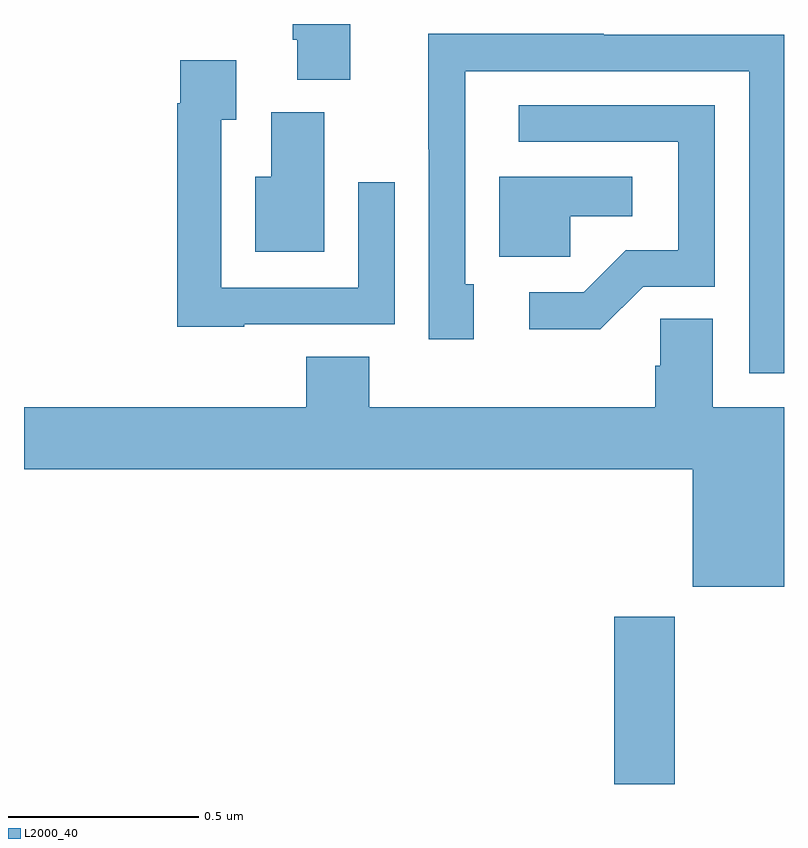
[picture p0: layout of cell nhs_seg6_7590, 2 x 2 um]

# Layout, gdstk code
import gdstk
lib = gdstk.Library(unit=1e-6, precision=1e-09)
def R(c, l, rs):  # rectangles x0, y0, x1, y1
    for r in rs: c.add(gdstk.rectangle(r[:2], r[2:], *l))
def P(c, l, *ps):  # polygons
    for p in ps: c.add(gdstk.Polygon(p, *l))
L2000_40 = (2000, 40)

nhs_seg6_7590 = lib.new_cell('nhs_seg6_7590')
R(nhs_seg6_7590, L2000_40, [(211.553,954.5,211.713,954.94)])
P(nhs_seg6_7590, L2000_40, [(210.859,956.5),(210.707,956.5),(210.707,956.458),(210.719,956.458),(210.719,956.353),(210.859,956.353)],
  [(212,956.472),(211.526,956.472),(211.526,956.474),(211.064,956.474),(211.064,956.17),(211.065,956.17),(211.065,955.671),(211.183,955.671),(211.183,955.815),(211.161,955.815),(211.161,956.376),(211.908,956.376),(211.908,955.581),(212,955.581)],
  [(210.579,955.71),(210.975,955.71),(210.975,956.083),(210.879,956.083),(210.879,955.806),(210.519,955.806),(210.519,956.248),(210.559,956.248),(210.559,956.404),(210.411,956.404),(210.411,956.291),(210.403,956.291),(210.403,955.703),(210.579,955.703)],
  [(211.629,955.809),(211.818,955.809),(211.818,956.286),(211.302,956.286),(211.302,956.19),(211.722,956.19),(211.722,955.905),(211.584,955.905),(211.473,955.794),(211.329,955.794),(211.329,955.697),(211.516,955.697)],
  [(210.79,956.268),(210.65,956.268),(210.65,956.098),(210.608,956.098),(210.608,955.901),(210.79,955.901)],
  [(211.437,955.994),(211.6,955.994),(211.6,956.098),(211.25,956.098),(211.25,955.887),(211.437,955.887)],
  [(211.76,955.019),(212,955.019),(212,955.492),(211.813,955.492),(211.813,955.724),(211.674,955.724),(211.674,955.601),(211.661,955.601),(211.661,955.492),(210.908,955.492),(210.908,955.625),(210.743,955.625),(210.743,955.492),(210,955.492),(210,955.328),(211.76,955.328)])

lib.write_gds('nhs_seg6_7590.gds')
